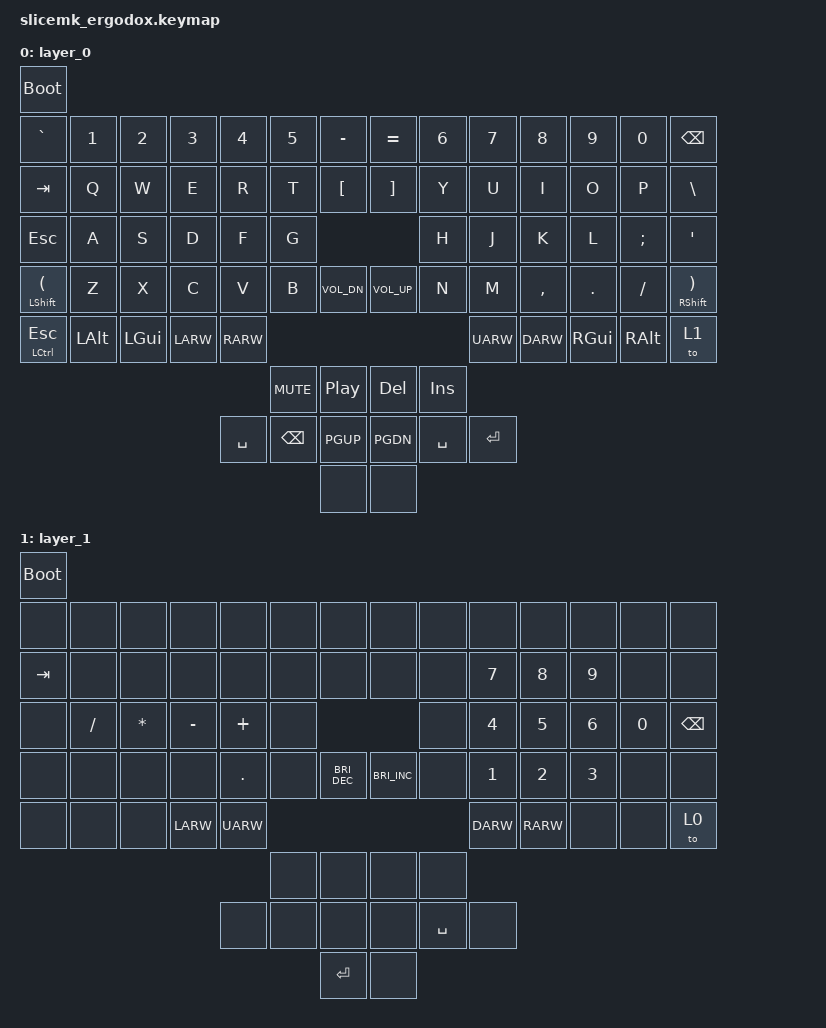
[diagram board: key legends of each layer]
#include <behaviors.dtsi>
#include <dt-bindings/zmk/bt.h>
#include <dt-bindings/zmk/keys.h>
#include <dt-bindings/zmk/outputs.h>
#include <dt-bindings/zmk/rgb.h>



/ {
	keymap {
		compatible = "zmk,keymap";
		layer_0 {
			bindings = <
				&bootloader
				&kp GRAV       &kp NUMBER_1 &kp NUMBER_2 &kp NUMBER_3 &kp NUMBER_4 &kp NUMBER_5 &kp MINUS    &kp EQUAL     &kp NUMBER_6 &kp NUMBER_7 &kp NUMBER_8 &kp NUMBER_9 &kp NUMBER_0  &kp BKSP
				&kp TAB        &kp Q        &kp W        &kp E        &kp R        &kp T        &kp LBKT     &kp RBKT     &kp Y        &kp U        &kp I        &kp O        &kp P         &kp BSLH
				&kp ESC        &kp A        &kp S        &kp D        &kp F        &kp G                                  &kp H        &kp J        &kp K        &kp L        &kp SEMICOLON &kp APOS
				&mt LSHFT LPAR &kp Z        &kp X        &kp C        &kp V        &kp B        &kp C_VOL_DN &kp C_VOL_UP &kp N        &kp M        &kp CMMA     &kp DOT      &kp FSLH      &mt RSHFT RPAR
				&mt LCTL ESC   &kp LALT     &kp LGUI     &kp LARW     &kp RARW                                                         &kp UARW     &kp DARW     &kp RGUI     &kp RALT      &to 1
				                                                                   &kp C_MUTE   &kp C_PP     &kp DEL      &kp INS
				                                                      &kp SPACE    &kp BKSP     &kp PGUP     &kp PGDN     &kp SPC      &kp ENTER
				                                                                                &none        &none
			>;
		};
		layer_1 {
			bindings = <
				&bootloader
				&none   &none     &none        &none     &none    &none &none                &none                &none   &none        &none        &none        &none        &none
				&kp TAB &none     &none        &none     &none    &none &none                &none                &none   &kp NUMBER_7 &kp NUMBER_8 &kp NUMBER_9 &none        &none
				&none   &kp SLASH &kp ASTERISK &kp MINUS &kp PLUS &none                                           &none   &kp NUMBER_4 &kp NUMBER_5 &kp NUMBER_6 &kp NUMBER_0 &kp BKSP
				&none   &none     &none        &none     &kp DOT  &none &kp C_BRIGHTNESS_DEC &kp C_BRIGHTNESS_INC &none   &kp NUMBER_1 &kp NUMBER_2 &kp NUMBER_3 &none        &none
				&none   &none     &none        &kp LARW  &kp UARW                                                         &kp DARW     &kp RARW     &none        &none        &to 0
				                                                  &none &none                &none                &none
				                                         &none    &none &none                &none                &kp SPC &none
				                                                        &kp RET              &none
			>;
		};
	};

};
